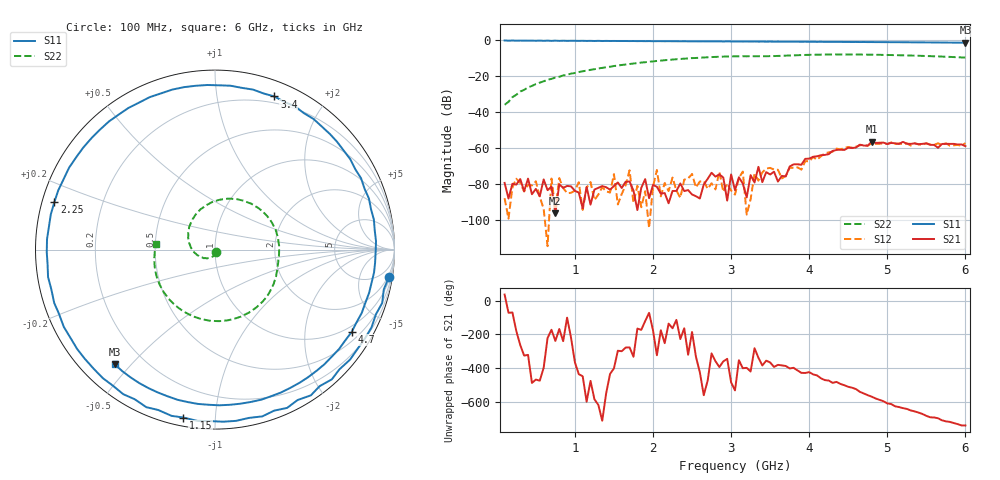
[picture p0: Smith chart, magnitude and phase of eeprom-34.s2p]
! Created with skrf 2.0.0 (http://scikit-rf.org).
# Hz S RI R 50.0
!freq ReS11 ImS11 ReS21 ImS21 ReS12 ImS12 ReS22 ImS22
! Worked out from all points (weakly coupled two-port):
!   119 points, 100 MHz to 6 GHz, reference 50 ohm
!   highest |S21| = -56.51 dB at 4.8 GHz (marker M1); lowest = -96.3 dB at 750 MHz (marker M2)
!   lowest |S11| = -1.4 dB at 6 GHz (marker M3), VSWR 12.25, Z = 4.91 - j22.5 ohm
!   |S11| at or under -10 dB: nowhere
!   |S22| runs from -35.9 to -7.9 dB; largest |S21 - S12| = 0.00033
!   S11 on the Smith chart (normalised r, x): 100 MHz: 2, -13; 1.15 GHz: 0.04, -0.83; 2.25 GHz: 0.04, +0.15; 3.4 GHz: 0.14, +1.45; 4.7 GHz: 0.79, -3.44; 6 GHz: 0.10, -0.45
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1e8  0.9698 -0.1516  8.59e-05 6.37e-05  1.23e-05 -3.82e-05  0.00834 -0.0136
7.5e8  0.4019 -0.8819  -7.83e-06 1.31e-05  -1.24e-05 -1.58e-05  -0.0811 -0.0417
1.1e9  -0.0986 -0.9544  3.67e-07 -2.07e-05  -1.88e-05 -2.23e-06  -0.1352 0.0137
1.15e9  -0.1767 -0.9355  -4.11e-05 7.21e-05  6.7e-05 -3.95e-05  -0.14 0.027
1.65e9  -0.7682 -0.5536  1.68e-05 0.000114  -4.24e-05 8.19e-05  -0.1252 0.1686
1.7e9  -0.8077 -0.4877  1.48e-05 0.000116  8.33e-05 0.000225  -0.115 0.1843
1.75e9  -0.8423 -0.4307  5.85e-05 2.98e-05  2e-05 2.21e-05  -0.1067 0.197
2e9  -0.9328 -0.0826  -9.34e-05 -7.15e-06  -8.37e-05 -5.18e-06  -0.0358 0.2539
2.05e9  -0.9374 -0.0146  6.78e-05 4.87e-05  0.000196 0.000145  -0.0182 0.2638
2.1e9  -0.9358 0.0585  -5.34e-05 -4.37e-06  -3.35e-05 3.02e-05  -0.00116 0.2691
2.25e9  -0.8947 0.2658  -6.12e-05 -1.78e-05  0.000118 -9.26e-05  0.0585 0.2825
2.75e9  -0.4816 0.7896  0.00014 0.000149  9.79e-05 3.68e-05  0.2576 0.2191
3.05e9  -0.1077 0.9128  -6.67e-05 -8.1e-06  2.63e-05 4.31e-05  0.3386 0.1088
3.3e9  0.2114 0.8917  2.36e-05 0.000107  -6.61e-06 0.000192  0.3572 0.00329
3.35e9  0.2721 0.8694  0.00028 0.000105  0.000114 -4.69e-05  0.3571 -0.018
3.4e9  0.3306 0.8534  0.000102 -4.68e-05  0.000191 8.52e-05  0.3561 -0.0361
3.65e9  0.5944 0.6864  0.000152 -6.88e-05  0.000142 1.09e-05  0.3434 -0.1296
4.05e9  0.8575 0.2852  0.00012 -0.000558  0.000251 -0.000498  0.266 -0.2893
4.7e9  0.762 -0.4579  -0.00114 0.00023  -0.00123 0.000132  -0.0279 -0.3963
4.8e9  0.6912 -0.554  -0.00129 0.000751  -0.00119 0.000683  -0.0766 -0.3872
5.05e9  0.4705 -0.7423  -0.000377 0.00132  -0.000421 0.00137  -0.1864 -0.3373
6e9  -0.5599 -0.6383  0.00105 -0.000409  0.00123 -0.000592  -0.326 0.0286
